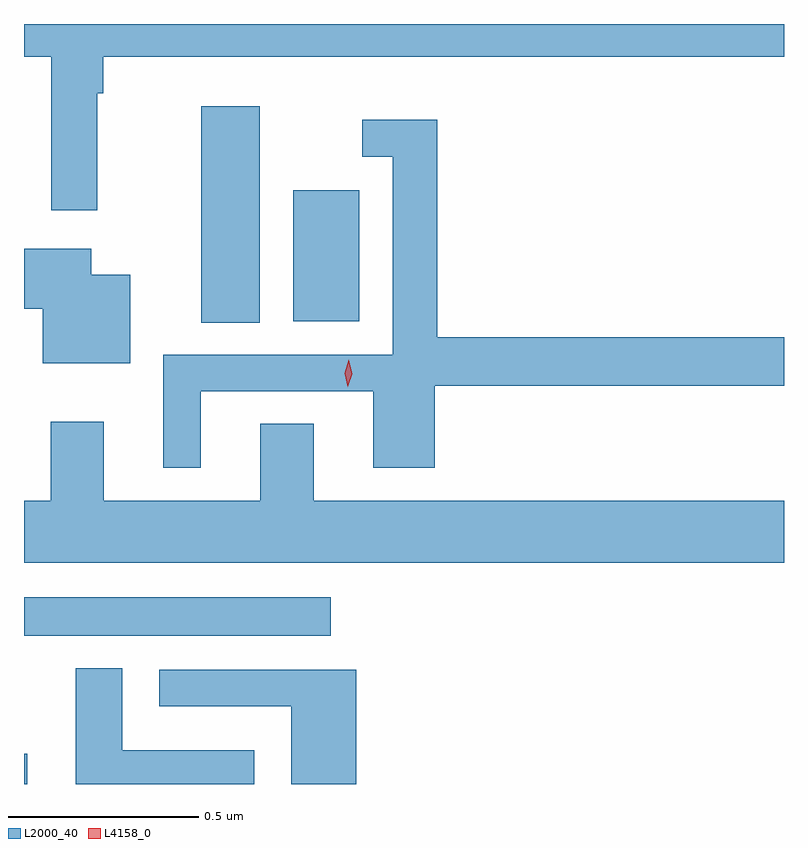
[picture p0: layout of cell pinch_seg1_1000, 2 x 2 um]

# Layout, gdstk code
import gdstk
lib = gdstk.Library(unit=1e-6, precision=1e-09)
def R(c, l, rs):  # rectangles x0, y0, x1, y1
    for r in rs: c.add(gdstk.rectangle(r[:2], r[2:], *l))
def P(c, l, *ps):  # polygons
    for p in ps: c.add(gdstk.Polygon(p, *l))
L2000_40 = (2000, 40)
L4158_0 = (4158, 0)

pinch_seg1_1000 = lib.new_cell('pinch_seg1_1000')
R(pinch_seg1_1000, L2000_40, [(315.379,560.474,315.388,560.554), (315.379,560.864,316.186,560.965), (315.845,561.688,316,562.258), (316.088,561.692,316.261,562.036)])
P(pinch_seg1_1000, L2000_40, [(315.572,562.292),(315.587,562.292),(315.587,562.388),(317.379,562.388),(317.379,562.474),(315.379,562.474),(315.379,562.388),(315.451,562.388),(315.451,561.984),(315.572,561.984)],
  [(315.844,561.507),(316.298,561.507),(316.298,561.306),(316.46,561.306),(316.46,561.522),(317.379,561.522),(317.379,561.65),(316.466,561.65),(316.466,562.222),(316.269,562.222),(316.269,562.125),(316.35,562.125),(316.35,561.603),(315.746,561.603),(315.746,561.306),(315.844,561.306)],
  [(315.658,561.814),(315.556,561.814),(315.556,561.883),(315.379,561.883),(315.379,561.725),(315.428,561.725),(315.428,561.581),(315.658,561.581)],
  [(317.379,561.22),(316.141,561.22),(316.141,561.422),(316.001,561.422),(316.001,561.22),(315.589,561.22),(315.589,561.427),(315.449,561.427),(315.449,561.22),(315.379,561.22),(315.379,561.056),(317.379,561.056)],
  [(315.985,560.563),(315.637,560.563),(315.637,560.779),(315.515,560.779),(315.515,560.474),(315.985,560.474)],
  [(316.253,560.775),(315.735,560.775),(315.735,560.679),(316.082,560.679),(316.082,560.474),(316.253,560.474)])
P(pinch_seg1_1000, L4158_0, [(316.231,561.519),(316.231,561.519),(316.223,561.555),(316.234,561.591),(316.234,561.591),(316.234,561.591),(316.243,561.554),(316.231,561.519)])

lib.write_gds('pinch_seg1_1000.gds')
